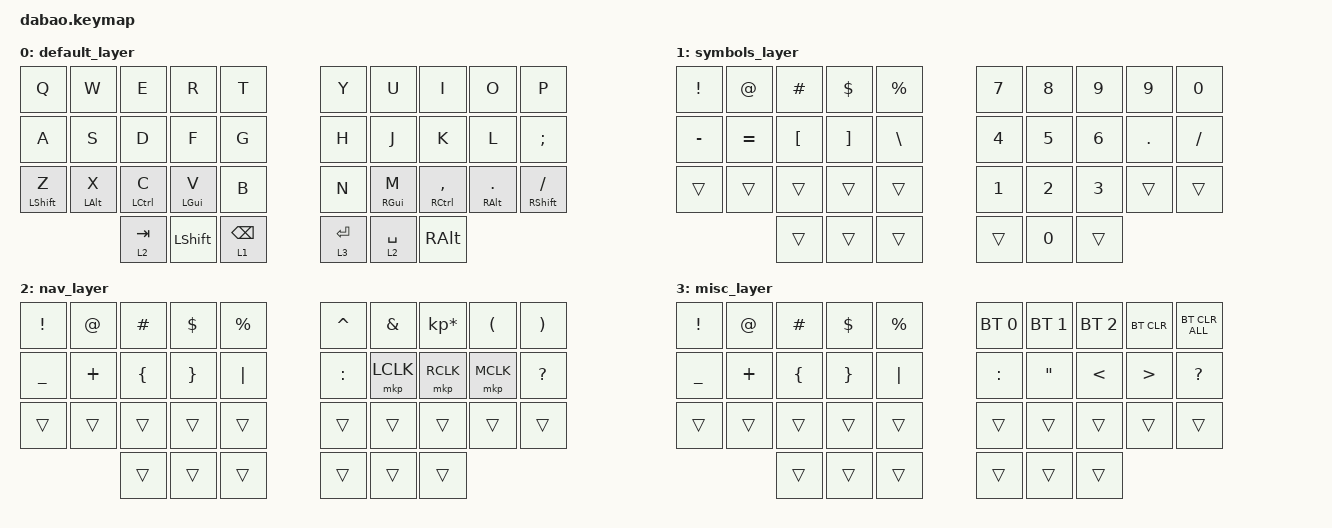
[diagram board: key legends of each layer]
#include <behaviors.dtsi>
#include <dt-bindings/zmk/keys.h>
#include <dt-bindings/zmk/bt.h>

&mt {
    flavor = "hold-preferred";
    tapping-term-ms = <200>;
    quick-tap-ms = <180>;
};

    flavor = "balanced";
    tapping-term-ms = <200>;
    quick-tap-ms = <180>;
};

/ {
    behaviors {
        hml: home_row_mod_left {
            compatible = "zmk,behavior-hold-tap";
            #binding-cells = <2>;
            flavor = "balanced";
            require-prior-idle-ms = <150>;
            tapping-term-ms = <280>;
            quick-tap-ms = <175>;
            bindings = <&kp>, <&kp>;
            hold-trigger-key-positions = <5 6 7 8 9 15 16 17 18 19 25 26 27 28 29 33 34 35>; // Right side keys + right thumb
            hold-trigger-on-release;
        };
        hmr: home_row_mod_right {
            compatible = "zmk,behavior-hold-tap";
            #binding-cells = <2>;
            flavor = "balanced";
            require-prior-idle-ms = <150>;
            tapping-term-ms = <280>;
            quick-tap-ms = <175>;
            bindings = <&kp>, <&kp>;
            hold-trigger-key-positions = <0 1 2 3 4 10 11 12 13 14 20 21 22 23 24 30 31 32>; // Left side keys + left thumb
            hold-trigger-on-release;
        };
    };

    keymap {
        compatible = "zmk,keymap";

        default_layer {
            bindings = <
                &kp Q        &kp W       &kp E        &kp R       &kp T        &kp Y        &kp U       &kp I            &kp O         &kp P
                &kp A        &kp S       &kp D        &kp F       &kp G        &kp H        &kp J       &kp K            &kp L         &kp SEMI
                &hml LSHFT Z  &hml LALT X  &hml LCTRL C  &hml LGUI V  &kp B    &kp N        &hmr RGUI M  &hmr RCTRL COMMA  &hmr RALT DOT  &hmr RSHFT SLASH
                                         &lt 2 TAB    &kp LSHFT   &lt 1 BSPC   &lt 3 ENTER  &lt 2 SPACE &kp RALT
            >;
        };

        symbols_layer {
            bindings = <
                &kp EXCL  &kp AT    &kp HASH  &kp DLLR  &kp PRCNT &kp N7    &kp N8    &kp N9    &kp N9    &kp N0
                &kp MINUS &kp EQUAL &kp LBKT  &kp RBKT  &kp BSLH  &kp N4    &kp N5    &kp N6    &kp DOT   &kp SLASH
                &trans    &trans    &trans    &trans    &trans    &kp N1    &kp N2    &kp N3    &trans    &trans
                                    &trans    &trans    &trans    &trans    &kp N0    &trans
            >;
        };

        nav_layer {
            bindings = <
                &kp EXCL  &kp AT    &kp HASH  &kp DLLR  &kp PRCNT &kp CARET &kp AMPS  &kp KP_MULTIPLY &kp LPAR &kp RPAR
                &kp UNDER &kp PLUS  &kp LBRC  &kp RBRC  &kp PIPE  &kp COLON &mkp LCLK   &mkp RCLK         &mkp MCLK   &kp QMARK
                &trans    &trans    &trans    &trans    &trans    &trans    &trans    &trans        &trans   &trans
                                    &trans    &trans    &trans    &trans    &trans    &trans
            >;
        };

        misc_layer {
            bindings = <
                &kp EXCL  &kp AT    &kp HASH  &kp DLLR  &kp PRCNT &bt BT_SEL 0 &bt BT_SEL 1 &bt BT_SEL 2 &bt BT_CLR &bt BT_CLR_ALL
                &kp UNDER &kp PLUS  &kp LBRC  &kp RBRC  &kp PIPE  &kp COLON &kp DQT   &kp LT         &kp GT   &kp QMARK
                &trans    &trans    &trans    &trans    &trans    &trans    &trans    &trans        &trans   &trans
                                    &trans    &trans    &trans    &trans    &trans    &trans
            >;
        };
    };
};
